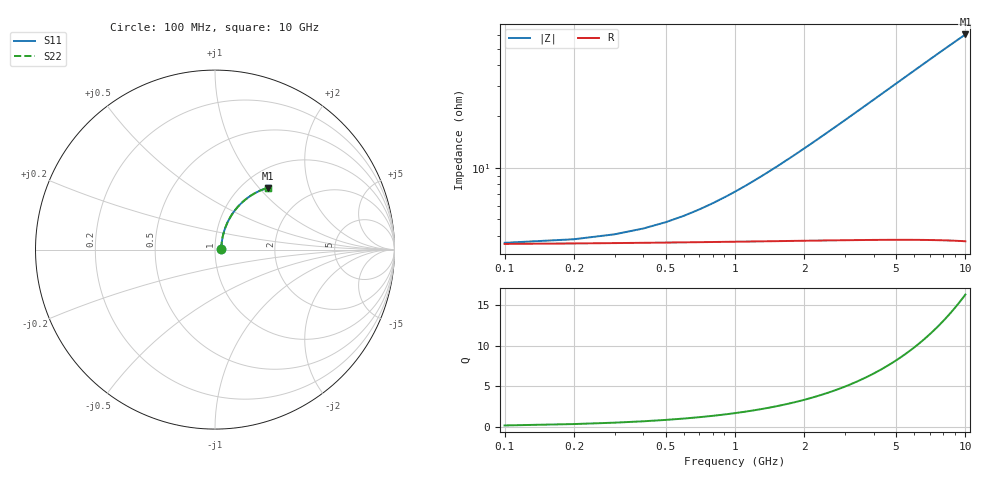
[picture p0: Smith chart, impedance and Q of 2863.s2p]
# Hz S RI R 50.00
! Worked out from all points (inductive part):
!   100 points, 100 MHz to 10 GHz, reference 50 ohm
!   read as one part in series: L = 990 pH near 1.8 GHz
!   highest Q = 16.3 at 10 GHz (marker M1), where L = 961 pH
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1e8  0.0345 0.00499  0.9655 -0.00663  0.9655 -0.00663  0.0345 0.00499
2e8  0.0348 0.00997  0.9651 -0.0132  0.9651 -0.0132  0.0348 0.00997
3e8  0.0352 0.0149  0.9648 -0.0199  0.9648 -0.0199  0.0352 0.0149
4e8  0.0356 0.0199  0.9644 -0.0265  0.9644 -0.0265  0.0356 0.0199
9e8  0.0382 0.0446  0.9617 -0.0594  0.9617 -0.0594  0.0382 0.0446
1.2e9  0.0405 0.0593  0.9592 -0.079  0.9592 -0.079  0.0405 0.0593
1.5e9  0.0434 0.0739  0.9562 -0.0985  0.9562 -0.0985  0.0434 0.0739
1.8e9  0.0469 0.0883  0.9526 -0.1179  0.9526 -0.1179  0.0469 0.0883
2.1e9  0.0509 0.1025  0.9484 -0.137  0.9484 -0.137  0.0509 0.1025
2.5e9  0.0572 0.1211  0.942 -0.1622  0.942 -0.1622  0.0572 0.1211
2.9e9  0.0643 0.1392  0.9345 -0.1869  0.9345 -0.1869  0.0643 0.1392
3.4e9  0.0745 0.1612  0.9238 -0.2171  0.9238 -0.2171  0.0745 0.1612
3.8e9  0.0837 0.1781  0.9143 -0.2406  0.9143 -0.2406  0.0837 0.1781
4.2e9  0.0936 0.1943  0.9039 -0.2634  0.9039 -0.2634  0.0936 0.1943
4.6e9  0.1043 0.2099  0.8927 -0.2857  0.8927 -0.2857  0.1043 0.2099
5.1e9  0.1187 0.2284  0.8777 -0.3124  0.8777 -0.3124  0.1187 0.2284
5.9e9  0.1436 0.2555  0.8515 -0.3528  0.8515 -0.3528  0.1436 0.2555
6.7e9  0.1705 0.2795  0.8232 -0.3901  0.8232 -0.3901  0.1705 0.2795
7.5e9  0.199 0.3002  0.7931 -0.4242  0.7931 -0.4242  0.199 0.3002
8.4e9  0.2323 0.3195  0.7577 -0.4587  0.7577 -0.4587  0.2323 0.3195
9.2e9  0.2626 0.3333  0.7254 -0.486  0.7254 -0.486  0.2626 0.3333
1e10  0.2931 0.344  0.6926 -0.5103  0.6926 -0.5103  0.2931 0.344
